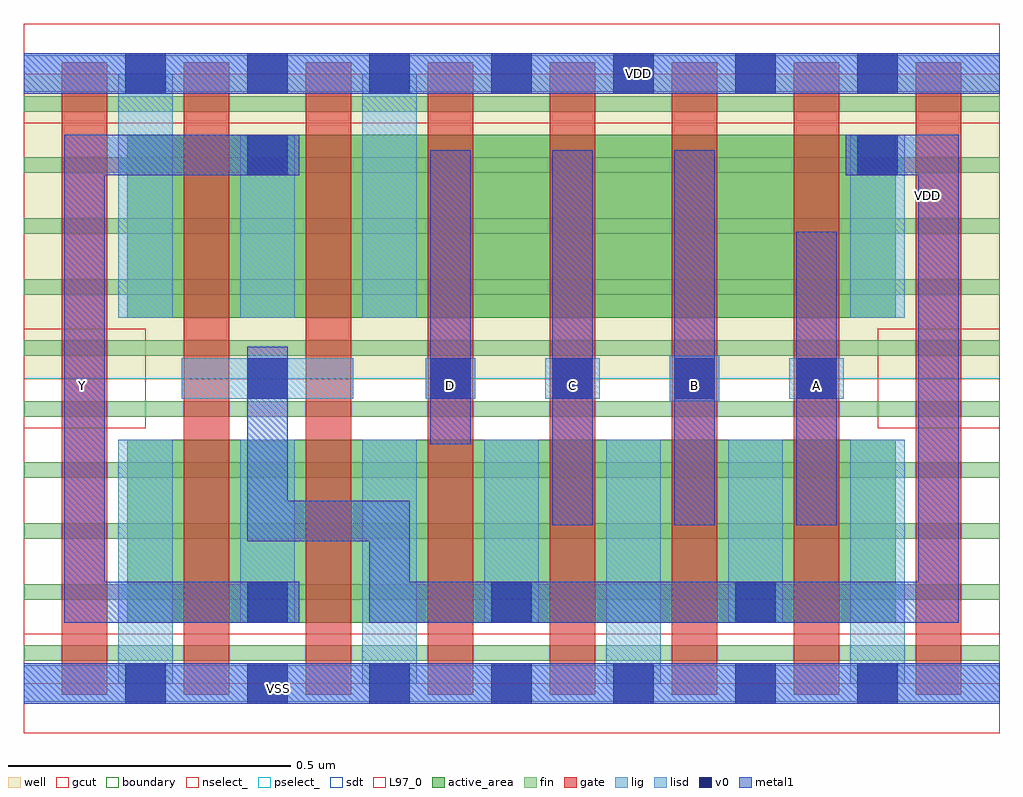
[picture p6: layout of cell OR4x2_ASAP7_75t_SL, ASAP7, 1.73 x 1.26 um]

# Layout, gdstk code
import gdstk
lib = gdstk.Library(unit=1e-6, precision=2.5e-10)
def R(c, l, rs):  # rectangles x0, y0, x1, y1
    for r in rs: c.add(gdstk.rectangle(r[:2], r[2:], *l))
def A(c, l, x, y, w, h, nx, ny, dx, dy):  # array of equal rectangles
    R(c, l, [(x+i*dx, y+j*dy, x+i*dx+w, y+j*dy+h) for i in range(nx) for j in range(ny)])
def P(c, l, *ps):  # polygons
    for p in ps: c.add(gdstk.Polygon(p, *l))
well = (1, 0)
fin = (2, 0)
gate = (7, 0)
gcut = (10, 0)
active_area = (11, 0)
nselect_ = (12, 0)
pselect_ = (13, 0)
lig = (16, 0)
lisd = (17, 0)
v0 = (18, 0)
metal1 = (19, 0)
sdt = (88, 0)
L97_0 = (97, 0)
boundary = (100, 0)

or4x2_asap7_75t_sl = lib.new_cell('OR4x2_ASAP7_75t_SL')
R(or4x2_asap7_75t_sl, well, [(0,0.54,1.728,1.08)])
A(or4x2_asap7_75t_sl, fin, 0, 0.04, 1.728, 0.028, 1, 10, 0, 0.108)
A(or4x2_asap7_75t_sl, gate, 0.068, -0.02, 0.08, 1.12, 8, 1, 0.216, 0)
R(or4x2_asap7_75t_sl, gcut, [(0,-0.088,1.728,0.088), (0,0.452,0.216,0.628), (1.512,0.452,1.728,0.628), (0,0.992,1.728,1.168)])
R(or4x2_asap7_75t_sl, active_area, [(0.184,0.108,1.544,0.432), (0.184,0.648,1.544,0.972)])
R(or4x2_asap7_75t_sl, nselect_, [(0,0,1.728,0.54)])
R(or4x2_asap7_75t_sl, pselect_, [(0,0.54,1.728,1.08)])
R(or4x2_asap7_75t_sl, lig, [(0,-0.032,1.728,0.032), (1.144,0.5,1.232,0.58), (0.28,0.504,0.584,0.576), (0.712,0.504,0.8,0.576), (0.924,0.504,1.02,0.576), (1.356,0.504,1.452,0.576), (0,1.048,1.728,1.112)])
A(or4x2_asap7_75t_sl, lisd, 0.168, 0, 0.096, 0.432, 4, 1, 0.432, 0)
A(or4x2_asap7_75t_sl, lisd, 0.384, 0.108, 0.096, 0.324, 3, 1, 0.432, 0)
R(or4x2_asap7_75t_sl, lisd, [(0.168,0.648,0.264,1.08), (0.384,0.648,0.48,0.972), (0.6,0.648,0.696,1.08), (1.464,0.648,1.56,0.972)])
A(or4x2_asap7_75t_sl, v0, 0.18, -0.036, 0.072, 0.072, 7, 2, 0.216, 1.08)
A(or4x2_asap7_75t_sl, v0, 0.396, 0.108, 0.072, 0.072, 3, 1, 0.432, 0)
A(or4x2_asap7_75t_sl, v0, 0.72, 0.504, 0.072, 0.072, 4, 1, 0.216, 0)
R(or4x2_asap7_75t_sl, v0, [(0.396,0.504,0.468,0.576), (0.396,0.9,0.468,0.972), (1.476,0.9,1.548,0.972)])
R(or4x2_asap7_75t_sl, metal1, [(0,-0.036,1.728,0.036), (0.936,0.28,1.008,0.944), (1.152,0.28,1.224,0.944), (1.368,0.28,1.44,0.8), (0.72,0.424,0.792,0.944), (0,1.044,1.728,1.116)])
P(or4x2_asap7_75t_sl, metal1, [(1.656,0.972),(1.456,0.972),(1.456,0.9),(1.584,0.9),(1.584,0.18),(0.684,0.18),(0.684,0.324),(0.468,0.324),(0.468,0.596),(0.396,0.596),(0.396,0.252),(0.612,0.252),(0.612,0.108),(1.656,0.108)],
  [(0.488,0.18),(0.144,0.18),(0.144,0.9),(0.488,0.9),(0.488,0.972),(0.072,0.972),(0.072,0.108),(0.488,0.108)])
A(or4x2_asap7_75t_sl, sdt, 0.168, 0.108, 0.096, 0.324, 7, 1, 0.216, 0)
A(or4x2_asap7_75t_sl, sdt, 0.168, 0.648, 0.096, 0.324, 3, 1, 0.216, 0)
R(or4x2_asap7_75t_sl, sdt, [(1.464,0.648,1.56,0.972)])
R(or4x2_asap7_75t_sl, L97_0, [(0,0,1.728,1.08)])
R(or4x2_asap7_75t_sl, boundary, [(0,0,1.728,1.08)])
or4x2_asap7_75t_sl.add(gdstk.Label('D', (0.756,0.528), layer=19, texttype=251))
or4x2_asap7_75t_sl.add(gdstk.Label('C', (0.972,0.528), layer=19, texttype=251))
or4x2_asap7_75t_sl.add(gdstk.Label('B', (1.188,0.528), layer=19, texttype=251))
or4x2_asap7_75t_sl.add(gdstk.Label('A', (1.404,0.528), layer=19, texttype=251))
or4x2_asap7_75t_sl.add(gdstk.Label('Y', (0.104,0.528), layer=19, texttype=251))
or4x2_asap7_75t_sl.add(gdstk.Label('VDD', (1.088,1.08), layer=19, texttype=251))
or4x2_asap7_75t_sl.add(gdstk.Label('VSS', (0.452,-0.008), layer=19, texttype=251))
or4x2_asap7_75t_sl.add(gdstk.Label('VDD', (1.6,0.864), layer=1, texttype=251))
or4x2_asap7_75t_sl.add(gdstk.Label('VSS', (1.26,-0.164), layer=3, texttype=251))

lib.write_gds('OR4x2_ASAP7_75t_SL.gds')
